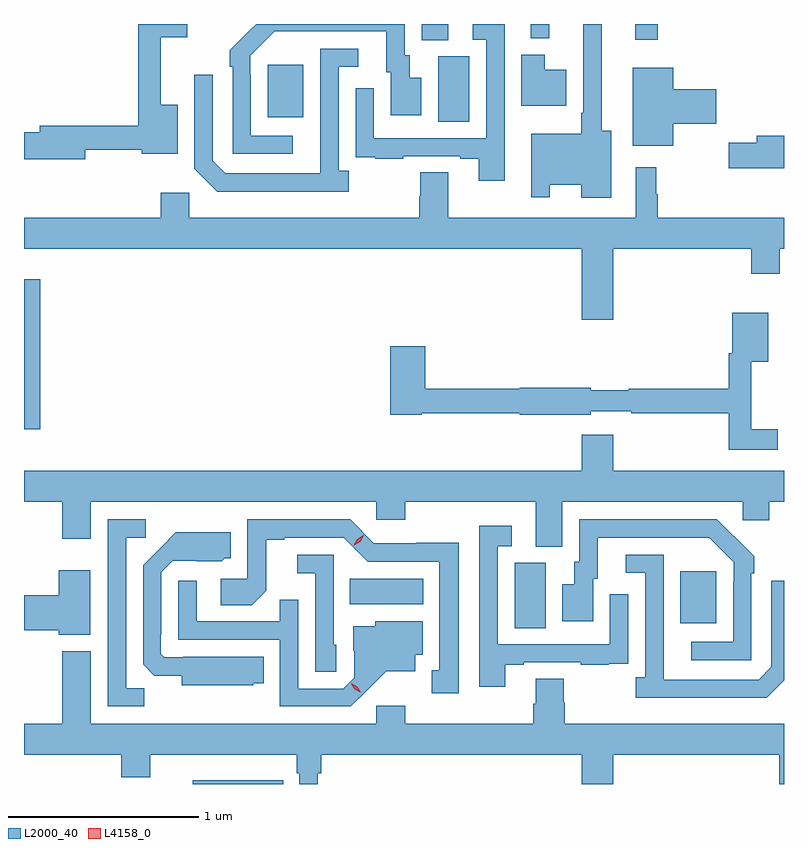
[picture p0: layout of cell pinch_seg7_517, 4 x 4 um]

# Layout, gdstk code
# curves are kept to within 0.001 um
import gdstk
lib = gdstk.Library(unit=1e-6, precision=1e-09)
def R(c, l, rs):  # rectangles x0, y0, x1, y1
    for r in rs: c.add(gdstk.rectangle(r[:2], r[2:], *l))
def P(c, l, *ps):  # polygons
    for p in ps: c.add(gdstk.Polygon(p, *l))
L2000_40 = (2000, 40)
L4158_0 = (4158, 0)

pinch_seg7_517 = lib.new_cell('pinch_seg7_517')
R(pinch_seg7_517, L2000_40, [(152.666,1066.552,152.83,1066.896), (153.539,1066.577,153.727,1066.852), (151.798,1066.676,152.185,1066.81), (150.084,1067.597,150.169,1068.388), (152.264,1069.216,152.428,1069.56), (151.367,1069.241,151.555,1069.516), (152.177,1069.645,152.317,1069.731), (153.302,1069.647,153.419,1069.731), (152.75,1069.655,152.849,1069.731)])
P(pinch_seg7_517, L2000_40, [(151.498,1069.143),(151.278,1069.143),(151.278,1069.463),(151.275,1069.463),(151.275,1069.563),(151.404,1069.692),(151.991,1069.692),(151.991,1069.476),(152.015,1069.476),(152.015,1069.251),(152.176,1069.251),(152.176,1069.447),(152.113,1069.447),(152.113,1069.566),(152.088,1069.566),(152.088,1069.731),(151.307,1069.731),(151.273,1069.697),(151.272,1069.698),(151.167,1069.593),(151.167,1069.505),(151.182,1069.505),(151.182,1069.047),(151.498,1069.047)],
  [(152.614,1069.128),(152.613,1069.128),(152.613,1069.731),(152.445,1069.731),(152.445,1069.647),(152.517,1069.647),(152.517,1069.131),(151.926,1069.131),(151.926,1069.393),(151.83,1069.393),(151.83,1069.138),(151.831,1069.138),(151.831,1069.029),(151.933,1069.029),(151.933,1069.023),(152.081,1069.023),(152.081,1069.035),(152.381,1069.035),(152.381,1069.023),(152.477,1069.023),(152.477,1068.906),(152.614,1068.906)],
  [(150.406,1069.068),(150.704,1069.068),(150.704,1069.049),(150.892,1069.049),(150.892,1069.306),(150.803,1069.306),(150.803,1069.662),(150.943,1069.662),(150.943,1069.731),(150.685,1069.731),(150.685,1069.196),(150.167,1069.196),(150.167,1069.16),(150.084,1069.16),(150.084,1069.018),(150.406,1069.018)],
  [(153.175,1069.168),(153.124,1069.168),(153.124,1069.731),(153.027,1069.731),(153.027,1069.264),(153.017,1069.264),(153.017,1069.153),(152.754,1069.153),(152.754,1068.819),(152.851,1068.819),(152.851,1068.884),(153.017,1068.884),(153.017,1068.816),(153.175,1068.816)],
  [(151.792,1068.958),(151.74,1068.958),(151.74,1069.506),(151.843,1069.506),(151.843,1069.602),(151.644,1069.602),(151.643,1068.945),(151.143,1068.945),(151.077,1069.011),(151.077,1069.465),(150.981,1069.465),(150.981,1068.969),(151.102,1068.848),(151.792,1068.848)],
  [(152.938,1069.489),(152.824,1069.489),(152.824,1069.57),(152.702,1069.57),(152.702,1069.301),(152.938,1069.301)],
  [(153.502,1069.205),(153.727,1069.205),(153.727,1069.388),(153.502,1069.388),(153.502,1069.501),(153.287,1069.501),(153.287,1069.091),(153.502,1069.091)],
  [(154.084,1069.142),(153.941,1069.142),(153.941,1069.106),(153.792,1069.106),(153.792,1068.971),(154.084,1068.971)],
  [(153.184,1068.548),(153.911,1068.548),(153.911,1068.417),(154.062,1068.417),(154.062,1068.548),(154.084,1068.548),(154.084,1068.712),(153.419,1068.712),(153.419,1068.836),(153.412,1068.836),(153.412,1068.976),(153.303,1068.976),(153.303,1068.712),(152.317,1068.712),(152.317,1068.95),(152.17,1068.95),(152.17,1068.825),(152.165,1068.825),(152.165,1068.712),(150.954,1068.712),(150.954,1068.844),(150.803,1068.844),(150.803,1068.712),(150.084,1068.712),(150.084,1068.548),(153.02,1068.548),(153.02,1068.174),(153.184,1068.174)],
  [(154.051,1067.599),(153.911,1067.599),(153.911,1067.954),(154,1067.954),(154,1068.211),(153.812,1068.211),(153.812,1067.997),(153.793,1067.997),(153.793,1067.81),(153.266,1067.81),(153.266,1067.803),(153.066,1067.803),(153.066,1067.816),(152.694,1067.816),(152.694,1067.81),(152.195,1067.81),(152.195,1068.034),(152.012,1068.034),(152.012,1067.674),(152.178,1067.674),(152.178,1067.682),(152.694,1067.682),(152.694,1067.674),(153.066,1067.674),(153.066,1067.694),(153.28,1067.694),(153.28,1067.682),(153.793,1067.682),(153.793,1067.49),(154.051,1067.49)],
  [(152.917,1067.216),(153.867,1067.216),(153.867,1067.118),(154.006,1067.118),(154.006,1067.216),(154.084,1067.216),(154.084,1067.38),(153.184,1067.38),(153.184,1067.569),(153.02,1067.569),(153.02,1067.38),(150.084,1067.38),(150.084,1067.216),(150.284,1067.216),(150.284,1067.022),(150.436,1067.022),(150.436,1067.216),(151.938,1067.216),(151.938,1067.123),(152.09,1067.123),(152.09,1067.216),(152.777,1067.216),(152.777,1066.981),(152.917,1066.981)],
  [(152.371,1067),(152.148,1067),(152.148,1066.998),(151.926,1066.998),(151.8,1067.124),(151.26,1067.124),(151.26,1066.812),(151.119,1066.812),(151.119,1066.672),(151.283,1066.672),(151.359,1066.748),(151.359,1067.016),(151.453,1067.016),(151.453,1067.028),(151.767,1067.028),(151.893,1066.902),(152.27,1066.902),(152.27,1066.329),(152.231,1066.329),(152.231,1066.209),(152.371,1066.209)],
  [(150.717,1066.235),(150.621,1066.235),(150.621,1067.028),(150.724,1067.028),(150.724,1067.124),(150.525,1067.124),(150.525,1066.14),(150.717,1066.14)],
  [(153.912,1066.841),(153.927,1066.841),(153.927,1066.929),(153.73,1067.124),(153.006,1067.124),(153.006,1066.902),(152.981,1066.902),(152.981,1066.783),(152.918,1066.783),(152.918,1066.587),(153.079,1066.587),(153.079,1066.812),(153.103,1066.812),(153.103,1067.028),(153.691,1067.028),(153.819,1066.899),(153.819,1066.799),(153.816,1066.799),(153.816,1066.479),(153.597,1066.479),(153.597,1066.383),(153.912,1066.383)],
  [(152.617,1066.359),(152.713,1066.359),(152.713,1066.371),(153.013,1066.371),(153.013,1066.359),(153.161,1066.359),(153.161,1066.365),(153.263,1066.365),(153.263,1066.474),(153.264,1066.474),(153.264,1066.729),(153.168,1066.729),(153.168,1066.467),(152.577,1066.467),(152.577,1066.983),(152.65,1066.983),(152.65,1067.089),(152.481,1067.089),(152.481,1066.242),(152.617,1066.242)],
  [(151.29,1066.262),(151.346,1066.262),(151.346,1066.402),(150.922,1066.402),(150.922,1066.398),(150.822,1066.398),(150.804,1066.416),(150.804,1066.516),(150.807,1066.516),(150.807,1066.845),(150.867,1066.905),(151.124,1066.904),(151.14,1066.92),(151.171,1066.92),(151.171,1067.056),(150.883,1067.056),(150.711,1066.882),(150.711,1066.36),(150.77,1066.301),(150.914,1066.301),(150.914,1066.25),(151.29,1066.25)],
  [(151.728,1066.464),(151.713,1066.464),(151.713,1066.938),(151.521,1066.938),(151.521,1066.841),(151.617,1066.841),(151.617,1066.321),(151.728,1066.321)],
  [(154.084,1066.276),(154.084,1066.801),(154.017,1066.801),(154.017,1066.347),(153.951,1066.281),(153.451,1066.281),(153.45,1066.938),(153.252,1066.938),(153.252,1066.842),(153.354,1066.842),(153.354,1066.294),(153.303,1066.294),(153.303,1066.184),(153.992,1066.184)],
  [(150.433,1066.855),(150.266,1066.855),(150.266,1066.724),(150.084,1066.724),(150.084,1066.541),(150.266,1066.541),(150.266,1066.517),(150.433,1066.517)],
  [(151.888,1066.223),(151.991,1066.325),(152.143,1066.325),(152.143,1066.412),(152.182,1066.412),(152.182,1066.588),(151.932,1066.588),(151.932,1066.561),(151.817,1066.561),(151.817,1066.432),(151.821,1066.432),(151.821,1066.29),(151.764,1066.233),(151.527,1066.233),(151.527,1066.7),(151.429,1066.7),(151.429,1066.587),(150.993,1066.587),(150.993,1066.801),(150.897,1066.801),(150.897,1066.491),(151.431,1066.491),(151.431,1066.14),(151.804,1066.14)],
  [(151.63,1065.788),(151.649,1065.788),(151.649,1065.884),(153.02,1065.884),(153.02,1065.731),(153.184,1065.731),(153.184,1065.884),(154.058,1065.884),(154.058,1065.731),(154.084,1065.731),(154.084,1066.048),(152.93,1066.048),(152.93,1066.161),(152.925,1066.161),(152.925,1066.286),(152.777,1066.286),(152.777,1066.154),(152.765,1066.154),(152.765,1066.048),(152.09,1066.048),(152.09,1066.144),(151.938,1066.144),(151.938,1066.048),(150.436,1066.048),(150.436,1066.429),(150.284,1066.429),(150.284,1066.048),(150.084,1066.048),(150.084,1065.884),(150.596,1065.884),(150.596,1065.767),(150.748,1065.767),(150.748,1065.884),(151.52,1065.884),(151.52,1065.788),(151.533,1065.788),(151.533,1065.731),(151.63,1065.731)],
  [(151.448,1065.75),(151.34,1065.75),(151.34,1065.751),(150.972,1065.751),(150.972,1065.731),(151.448,1065.731)])
P(pinch_seg7_517, L4158_0, [(151.82,1066.988),(151.82,1066.988),(151.838,1067.02),(151.87,1067.039),(151.871,1067.039),(151.871,1067.039),(151.853,1067.006),(151.821,1066.988)],
  [(151.855,1066.215),(151.824,1066.23),(151.806,1066.259),(151.806,1066.26),(151.807,1066.26),(151.838,1066.244),(151.856,1066.215),(151.856,1066.215)])

lib.write_gds('pinch_seg7_517.gds')
